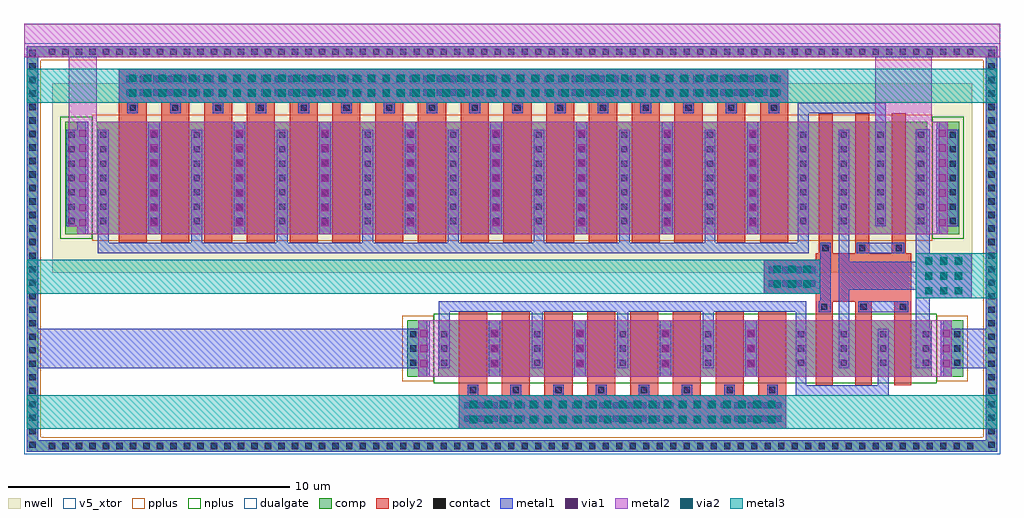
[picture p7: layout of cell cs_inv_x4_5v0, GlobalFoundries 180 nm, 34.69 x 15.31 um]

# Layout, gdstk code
from math import pi, radians
import gdstk
lib = gdstk.Library(unit=1e-6, precision=1e-09)
def R(c, l, rs):  # rectangles x0, y0, x1, y1
    for r in rs: c.add(gdstk.rectangle(r[:2], r[2:], *l))
def A(c, l, x, y, w, h, nx, ny, dx, dy):  # array of equal rectangles
    R(c, l, [(x+i*dx, y+j*dy, x+i*dx+w, y+j*dy+h) for i in range(nx) for j in range(ny)])
nwell = (21, 0)
comp = (22, 0)
poly2 = (30, 0)
pplus = (31, 0)
nplus = (32, 0)
contact = (33, 0)
metal1 = (34, 0)
via1 = (35, 0)
metal2 = (36, 0)
via2 = (38, 0)
metal3 = (42, 0)
dualgate = (55, 0)
v5_xtor = (112, 1)

pfet_4_1 = lib.new_cell('pfet$4$1')
R(pfet_4_1, nwell, [(-1.24,-1.29,4.96,4.91)])
R(pfet_4_1, comp, [(-0.46,0,4.18,4)])
A(pfet_4_1, poly2, 0.31, -0.68, 0.5, 4.98, 3, 1, 1.3, 0)
R(pfet_4_1, pplus, [(-0.63,-0.24,4.35,4.24)])
A(pfet_4_1, contact, 0.45, -0.6, 0.22, 0.22, 3, 1, 1.3, 0)
A(pfet_4_1, contact, -0.34, 0.36, 0.22, 0.22, 1, 7, 0, 0.51)
A(pfet_4_1, contact, 1.1, 0.36, 0.22, 0.22, 1, 7, 0, 0.51)
A(pfet_4_1, contact, 2.4, 0.36, 0.22, 0.22, 1, 7, 0, 0.51)
A(pfet_4_1, contact, 3.84, 0.36, 0.22, 0.22, 1, 7, 0, 0.51)
A(pfet_4_1, metal1, 0.37, -0.68, 0.38, 0.38, 3, 1, 1.3, 0)
R(pfet_4_1, metal1, [(-0.42,0.28,-0.04,3.72), (1.02,0.28,1.4,3.72), (2.32,0.28,2.7,3.72), (3.76,0.28,4.14,3.72)])
R(pfet_4_1, dualgate, [(-1.74,-1.79,5.46,5.41)])
R(pfet_4_1, v5_xtor, [(-1.74,-1.79,5.46,5.41)])

pfet_3_6 = lib.new_cell('pfet$3$6')
R(pfet_3_6, nwell, [(-1.24,-0.91,25.66,5.29)])
R(pfet_3_6, comp, [(-0.46,0,24.88,4)])
A(pfet_3_6, poly2, 0.31, -0.3, 1, 4.98, 16, 1, 1.52, 0)
R(pfet_3_6, pplus, [(-0.63,-0.24,25.05,4.24)])
A(pfet_3_6, contact, -0.34, 0.36, 0.22, 0.22, 1, 7, 0, 0.51)
A(pfet_3_6, contact, 1.46, 0.36, 0.22, 0.22, 15, 7, 1.52, 0.51)
A(pfet_3_6, contact, 24.54, 0.36, 0.22, 0.22, 1, 7, 0, 0.51)
A(pfet_3_6, contact, 0.7, 4.38, 0.22, 0.22, 16, 1, 1.52, 0)
A(pfet_3_6, metal1, 1.38, 0.28, 0.38, 3.44, 15, 1, 1.52, 0)
A(pfet_3_6, metal1, 0.62, 4.3, 0.38, 0.38, 16, 1, 1.52, 0)
R(pfet_3_6, metal1, [(-0.42,0.28,-0.04,3.72), (24.46,0.28,24.84,3.72)])
R(pfet_3_6, dualgate, [(-1.74,-1.41,26.16,5.79)])
R(pfet_3_6, v5_xtor, [(-1.74,-1.41,26.16,5.79)])

nfet_3_5 = lib.new_cell('nfet$3$5')
R(nfet_3_5, comp, [(-0.42,0,12.68,2)])
A(nfet_3_5, poly2, 0.31, -0.66, 1, 2.96, 8, 1, 1.52, 0)
R(nfet_3_5, nplus, [(-0.59,-0.24,12.85,2.24)])
A(nfet_3_5, contact, 0.7, -0.59, 0.22, 0.22, 8, 1, 1.52, 0)
A(nfet_3_5, contact, -0.32, 0.38, 0.22, 0.22, 1, 3, 0, 0.51)
A(nfet_3_5, contact, 1.46, 0.38, 0.22, 0.22, 7, 3, 1.52, 0.51)
A(nfet_3_5, contact, 12.36, 0.38, 0.22, 0.22, 1, 3, 0, 0.51)
A(nfet_3_5, metal1, 0.62, -0.67, 0.38, 0.38, 8, 1, 1.52, 0)
A(nfet_3_5, metal1, 1.38, 0.3, 0.38, 1.4, 7, 1, 1.52, 0)
R(nfet_3_5, metal1, [(-0.4,0.3,-0.02,1.7), (12.28,0.3,12.66,1.7)])
R(nfet_3_5, dualgate, [(-0.84,-1.08,13.1,2.71)])
R(nfet_3_5, v5_xtor, [(-0.84,-1.08,13.1,2.71)])

nfet_2_3 = lib.new_cell('nfet$2$3')
R(nfet_2_3, comp, [(-0.42,0,4.44,2)])
A(nfet_2_3, poly2, 0.31, -0.3, 0.6, 2.96, 3, 1, 1.4, 0)
R(nfet_2_3, nplus, [(-0.59,-0.24,4.61,2.24)])
A(nfet_2_3, contact, -0.32, 0.38, 0.22, 0.22, 1, 3, 0, 0.51)
A(nfet_2_3, contact, 1.2, 0.38, 0.22, 0.22, 1, 3, 0, 0.51)
A(nfet_2_3, contact, 2.6, 0.38, 0.22, 0.22, 1, 3, 0, 0.51)
A(nfet_2_3, contact, 4.12, 0.38, 0.22, 0.22, 1, 3, 0, 0.51)
A(nfet_2_3, contact, 0.5, 2.37, 0.22, 0.22, 3, 1, 1.4, 0)
A(nfet_2_3, metal1, 0.42, 2.29, 0.38, 0.38, 3, 1, 1.4, 0)
R(nfet_2_3, metal1, [(-0.4,0.3,-0.02,1.7), (1.12,0.3,1.5,1.7), (2.52,0.3,2.9,1.7), (4.04,0.3,4.42,1.7)])
R(nfet_2_3, dualgate, [(-0.84,-0.71,4.86,3.08)])
R(nfet_2_3, v5_xtor, [(-0.84,-0.71,4.86,3.08)])

via_dev_4_6 = lib.new_cell('via_dev$4$6')
R(via_dev_4_6, poly2, [(0,0,2,1.2)])
A(via_dev_4_6, contact, 0.17, 0.25, 0.22, 0.22, 4, 2, 0.48, 0.48)
R(via_dev_4_6, metal1, [(0,0,2,1.2)])
A(via_dev_4_6, via1, 0.34, 0.205, 0.26, 0.26, 3, 2, 0.53, 0.53)
R(via_dev_4_6, metal2, [(0,0,2,1.2)])
A(via_dev_4_6, via2, 0.34, 0.205, 0.26, 0.26, 3, 2, 0.53, 0.53)
R(via_dev_4_6, metal3, [(0,0,2,1.2)])

via_dev_2_4 = lib.new_cell('via_dev$2$4')
R(via_dev_2_4, poly2, [(0,0,23.8,1.2)])
A(via_dev_2_4, contact, 0.27, 0.25, 0.22, 0.22, 49, 2, 0.48, 0.48)
R(via_dev_2_4, metal1, [(0,0,23.8,1.2)])
A(via_dev_2_4, via1, 0.375, 0.205, 0.26, 0.26, 44, 2, 0.53, 0.53)
R(via_dev_2_4, metal2, [(0,0,23.8,1.2)])
A(via_dev_2_4, via2, 0.375, 0.205, 0.26, 0.26, 44, 2, 0.53, 0.53)
R(via_dev_2_4, metal3, [(0,0,23.8,1.2)])

via_dev_13_5 = lib.new_cell('via_dev$13$5')
R(via_dev_13_5, metal1, [(0,0,2,1.6)])
A(via_dev_13_5, via1, 0.34, 0.14, 0.26, 0.26, 3, 3, 0.53, 0.53)
R(via_dev_13_5, metal2, [(0,0,2,1.6)])
A(via_dev_13_5, via2, 0.34, 0.14, 0.26, 0.26, 3, 3, 0.53, 0.53)
R(via_dev_13_5, metal3, [(0,0,2,1.6)])

via_dev_12_8 = lib.new_cell('via_dev$12$8')
R(via_dev_12_8, comp, [(0,0,0.4,14.41)])
A(via_dev_12_8, contact, 0.09, 0.135, 0.22, 0.22, 1, 30, 0, 0.48)
R(via_dev_12_8, metal1, [(0,0,0.4,14.41)])

via_dev_5_8 = lib.new_cell('via_dev$5$8')
R(via_dev_5_8, metal1, [(0,0,0.4,2)])
A(via_dev_5_8, via1, 0.07, 0.34, 0.26, 0.26, 1, 3, 0, 0.53)
R(via_dev_5_8, metal2, [(0,0,0.4,2)])

via_dev_28 = lib.new_cell('via_dev$28')
R(via_dev_28, metal1, [(0,0,0.4,4)])
A(via_dev_28, via1, 0.07, 0.28, 0.26, 0.26, 1, 7, 0, 0.53)
R(via_dev_28, metal2, [(0,0,0.4,4)])

via_dev_7_5 = lib.new_cell('via_dev$7$5')
R(via_dev_7_5, poly2, [(0,0,11.64,1.2)])
A(via_dev_7_5, contact, 0.19, 0.25, 0.22, 0.22, 24, 2, 0.48, 0.48)
R(via_dev_7_5, metal1, [(0,0,11.64,1.2)])
A(via_dev_7_5, via1, 0.39, 0.205, 0.26, 0.26, 21, 2, 0.53, 0.53)
R(via_dev_7_5, metal2, [(0,0,11.64,1.2)])
A(via_dev_7_5, via2, 0.39, 0.205, 0.26, 0.26, 21, 2, 0.53, 0.53)
R(via_dev_7_5, metal3, [(0,0,11.64,1.2)])

via_dev_14_2 = lib.new_cell('via_dev$14$2')
R(via_dev_14_2, comp, [(0,0,33.43,0.4)])
A(via_dev_14_2, contact, 0.285, 0.09, 0.22, 0.22, 69, 1, 0.48, 0)
R(via_dev_14_2, metal1, [(0,0,33.43,0.4)])

cs_inv_x4_5v0 = lib.new_cell('cs_inv_x4_5v0')
R(cs_inv_x4_5v0, nwell, [(0.11,4.465,32.81,11.205)])
R(cs_inv_x4_5v0, comp, [(-0.39,-1.89,-0.29,-1.49), (33.14,-1.89,33.3,-1.49), (12.73,0.775,13.44,2.775), (31.78,0.775,32.49,2.775), (0.57,5.835,1.3,9.835), (31.62,5.835,32.35,9.835), (-0.39,12.12,-0.29,12.52), (33.14,12.12,33.3,12.52)])
R(cs_inv_x4_5v0, poly2, [(27.25,3.435,30.65,5.155)])
R(cs_inv_x4_5v0, pplus, [(12.56,0.605,13.67,2.945), (31.55,0.605,32.66,2.945)])
R(cs_inv_x4_5v0, nplus, [(0.4,5.665,1.53,10.005), (31.39,5.665,32.52,10.005)])
A(cs_inv_x4_5v0, contact, 12.83, 1.155, 0.22, 0.22, 1, 3, 0, 0.51)
A(cs_inv_x4_5v0, contact, 32.17, 1.155, 0.22, 0.22, 1, 3, 0, 0.51)
A(cs_inv_x4_5v0, contact, 0.69, 6.195, 0.22, 0.22, 1, 7, 0, 0.51)
A(cs_inv_x4_5v0, contact, 32.01, 6.195, 0.22, 0.22, 1, 7, 0, 0.51)
R(cs_inv_x4_5v0, metal1, [(-0.39,-1.89,-0.29,-1.49), (33.14,-1.89,33.3,-1.49), (-0.605,1.075,13.15,2.475), (13.15,1.075,13.53,2.475), (30.8,1.075,31.295,9.56), (31.69,1.075,32.07,2.475), (32.07,1.075,33.48,2.475), (28.76,3.065,30.54,3.445), (28.71,5.155,30.39,5.54), (0.61,6.115,1.39,9.555), (31.53,6.115,32.31,9.555), (-0.39,12.12,-0.29,12.52), (33.14,12.12,33.3,12.52)])
R(cs_inv_x4_5v0, metal2, [(13.13,0.775,32.09,2.775), (1,5.835,31.95,9.835)])
R(cs_inv_x4_5v0, metal3, [(-0.79,-1.085,33.7,0.115), (32.8,3.555,33.7,5.155), (-0.79,3.725,25.41,4.925), (-0.79,10.515,33.7,11.715)])
R(cs_inv_x4_5v0, dualgate, [(-0.89,-1.99,33.8,12.625)])
R(cs_inv_x4_5v0, v5_xtor, [(-0.89,-1.99,33.8,12.625)])
cs_inv_x4_5v0.add(gdstk.FlexPath([(28.25,6.285),(28.25,2.075)], 0.38, ends="flush", simple_path=True, layer=34, datatype=0))  # metal1
cs_inv_x4_5v0.add(gdstk.FlexPath([(26.81,9.255),(26.81,10.325),(29.55,10.325),(29.55,9.425)], 0.38, ends="flush", simple_path=True, layer=34, datatype=0))  # metal1
cs_inv_x4_5v0.add(gdstk.FlexPath([(26.73,1.375),(26.73,0.285),(29.65,0.285),(29.65,1.315)], 0.38, ends="flush", simple_path=True, layer=34, datatype=0))  # metal1
cs_inv_x4_5v0.add(gdstk.FlexPath([(26.73,2.3),(26.73,3.265),(23.43,3.265),(23.43,2.18)], 0.38, ends="flush", simple_path=True, layer=34, datatype=0))  # metal1
cs_inv_x4_5v0.add(gdstk.FlexPath([(23.43,2.18),(23.43,3.265),(20.39,3.265),(20.39,2.175)], 0.38, ends="flush", simple_path=True, layer=34, datatype=0))  # metal1
cs_inv_x4_5v0.add(gdstk.FlexPath([(20.39,2.18),(20.39,3.265),(17.35,3.265),(17.35,2.175)], 0.38, ends="flush", simple_path=True, layer=34, datatype=0))  # metal1
cs_inv_x4_5v0.add(gdstk.FlexPath([(17.35,2.18),(17.35,3.265),(14.05,3.265),(14.05,2.175)], 0.38, ends="flush", simple_path=True, layer=34, datatype=0))  # metal1
cs_inv_x4_5v0.add(gdstk.FlexPath([(23.49,6.415),(23.49,5.345),(26.81,5.345),(26.81,6.595)], 0.38, ends="flush", simple_path=True, layer=34, datatype=0))  # metal1
cs_inv_x4_5v0.add(gdstk.FlexPath([(23.49,6.415),(23.49,5.345),(20.45,5.345),(20.45,6.415)], 0.38, ends="flush", simple_path=True, layer=34, datatype=0))  # metal1
cs_inv_x4_5v0.add(gdstk.FlexPath([(20.45,6.415),(20.45,5.345),(17.41,5.345),(17.41,6.415)], 0.38, ends="flush", simple_path=True, layer=34, datatype=0))  # metal1
cs_inv_x4_5v0.add(gdstk.FlexPath([(17.41,6.415),(17.41,5.345),(14.37,5.345),(14.37,6.415)], 0.38, ends="flush", simple_path=True, layer=34, datatype=0))  # metal1
cs_inv_x4_5v0.add(gdstk.FlexPath([(14.37,6.415),(14.37,5.345),(11.33,5.345),(11.33,6.415)], 0.38, ends="flush", simple_path=True, layer=34, datatype=0))  # metal1
cs_inv_x4_5v0.add(gdstk.FlexPath([(11.33,6.415),(11.33,5.345),(8.29,5.345),(8.29,6.415)], 0.38, ends="flush", simple_path=True, layer=34, datatype=0))  # metal1
cs_inv_x4_5v0.add(gdstk.FlexPath([(8.29,6.415),(8.29,5.345),(5.25,5.345),(5.25,6.415)], 0.38, ends="flush", simple_path=True, layer=34, datatype=0))  # metal1
cs_inv_x4_5v0.add(gdstk.FlexPath([(5.25,6.415),(5.25,5.345),(1.93,5.345),(1.93,6.415)], 0.38, ends="flush", simple_path=True, layer=34, datatype=0))  # metal1
cs_inv_x4_5v0.add(gdstk.FlexPath([(28.1,4.36),(30.8,4.36)], 1, ends="flush", simple_path=True, layer=34, datatype=0))  # metal1
cs_inv_x4_5v0.add(gdstk.FlexPath([(27.6,5.26),(27.6,3.065)], 0.38, ends="flush", simple_path=True, layer=34, datatype=0))  # metal1
cs_inv_x4_5v0.add(gdstk.FlexPath([(-0.89,12.72),(33.8,12.72)], 1.2, ends="flush", simple_path=True, layer=36, datatype=0))  # metal2
cs_inv_x4_5v0.add(gdstk.FlexPath([(30.37,8.04),(30.37,12.52)], 2, ends="flush", simple_path=True, layer=36, datatype=0))  # metal2
cs_inv_x4_5v0.add(gdstk.FlexPath([(1.2,6.115),(1.2,12.52)], 1, ends="flush", simple_path=True, layer=36, datatype=0))  # metal2
cs_inv_x4_5v0.add(gdstk.FlexPath([(-0.59,12.52),(-0.59,-1.69),(33.5,-1.69),(33.5,12.325),(-0.89,12.325)], 0.6, ends="flush", simple_path=True, layer=31, datatype=0))  # pplus
cs_inv_x4_5v0.add(gdstk.Reference(pfet_4_1, (27.04,5.835)))
cs_inv_x4_5v0.add(gdstk.Reference(pfet_3_6, (26.58,5.835), rotation=pi, x_reflection=True))
cs_inv_x4_5v0.add(gdstk.Reference(nfet_3_5, (26.52,0.775), rotation=pi, x_reflection=True))
cs_inv_x4_5v0.add(gdstk.Reference(nfet_2_3, (26.94,0.775)))
cs_inv_x4_5v0.add(gdstk.Reference(via_dev_4_6, (25.41,3.725)))
cs_inv_x4_5v0.add(gdstk.Reference(via_dev_2_4, (2.47,10.515)))
cs_inv_x4_5v0.add(gdstk.Reference(via_dev_13_5, (30.8,3.555)))
cs_inv_x4_5v0.add(gdstk.Reference(via_dev_12_8, (-0.79,-1.89)))
cs_inv_x4_5v0.add(gdstk.Reference(via_dev_12_8, (33.3,-1.89)))
cs_inv_x4_5v0.add(gdstk.Reference(via_dev_5_8, (21.71,0.775)))
cs_inv_x4_5v0.add(gdstk.Reference(via_dev_5_8, (15.63,0.775)))
cs_inv_x4_5v0.add(gdstk.Reference(via_dev_5_8, (18.67,0.775)))
cs_inv_x4_5v0.add(gdstk.Reference(via_dev_5_8, (24.75,0.775)))
cs_inv_x4_5v0.add(gdstk.Reference(via_dev_5_8, (31.69,0.775)))
cs_inv_x4_5v0.add(gdstk.Reference(via_dev_5_8, (13.13,0.775)))
cs_inv_x4_5v0.add(gdstk.Reference(via_dev_28, (1,5.835)))
cs_inv_x4_5v0.add(gdstk.Reference(via_dev_28, (3.53,5.835)))
cs_inv_x4_5v0.add(gdstk.Reference(via_dev_28, (31.55,5.835)))
cs_inv_x4_5v0.add(gdstk.Reference(via_dev_28, (24.81,5.835)))
cs_inv_x4_5v0.add(gdstk.Reference(via_dev_28, (21.77,5.835)))
cs_inv_x4_5v0.add(gdstk.Reference(via_dev_28, (18.73,5.835)))
cs_inv_x4_5v0.add(gdstk.Reference(via_dev_28, (15.69,5.835)))
cs_inv_x4_5v0.add(gdstk.Reference(via_dev_28, (12.65,5.835)))
cs_inv_x4_5v0.add(gdstk.Reference(via_dev_28, (9.61,5.835)))
cs_inv_x4_5v0.add(gdstk.Reference(via_dev_28, (6.57,5.835)))
cs_inv_x4_5v0.add(gdstk.Reference(via_dev_7_5, (14.57,-1.085)))
cs_inv_x4_5v0.add(gdstk.Reference(via_dev_14_2, (-0.29,-1.89)))
cs_inv_x4_5v0.add(gdstk.Reference(via_dev_14_2, (-0.29,12.12)))

lib.write_gds('cs_inv_x4_5v0.gds')
